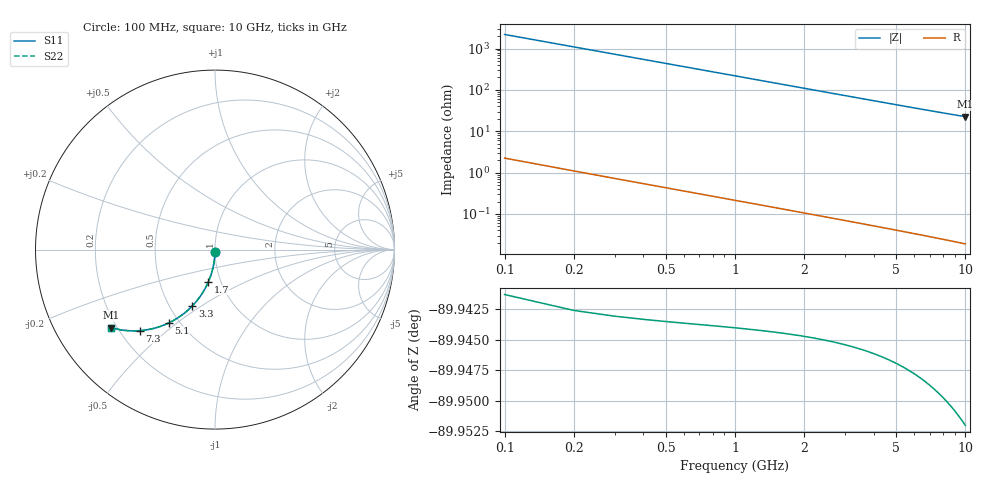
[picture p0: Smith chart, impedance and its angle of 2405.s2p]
# Hz S RI R 50.00
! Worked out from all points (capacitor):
!   100 points, 100 MHz to 10 GHz, reference 50 ohm
!   read as one part in shunt: C = 726 fF near 100 MHz
!   lowest |Z| = 22.6 ohm at 10 GHz (marker M1)
!   S11 on the Smith chart (normalised r, x): 100 MHz: 1.00, -0.02; 1.7 GHz: 0.87, -0.32; 3.3 GHz: 0.65, -0.46; 5.1 GHz: 0.44, -0.47; 7.3 GHz: 0.28, -0.41; 10 GHz: 0.18, -0.32
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1e8  -2.9e-05 -0.0109  0.9997 -0.012  0.9997 -0.012  -2.9e-05 -0.0109
2e8  -0.000429 -0.0217  0.9993 -0.0239  0.9993 -0.0239  -0.000429 -0.0217
3e8  -0.00109 -0.0325  0.9987 -0.0358  0.9987 -0.0358  -0.00109 -0.0325
4e8  -0.002 -0.0433  0.9978 -0.0478  0.9978 -0.0478  -0.002 -0.0433
5e8  -0.00318 -0.0541  0.9966 -0.0596  0.9966 -0.0596  -0.00318 -0.0541
6e8  -0.00461 -0.0648  0.9951 -0.0715  0.9951 -0.0715  -0.00461 -0.0648
8e8  -0.00822 -0.0861  0.9915 -0.095  0.9915 -0.095  -0.00822 -0.0861
9e8  -0.0104 -0.0967  0.9893 -0.1067  0.9893 -0.1067  -0.0104 -0.0967
1.1e9  -0.0155 -0.1176  0.9842 -0.1298  0.9842 -0.1298  -0.0155 -0.1176
1.4e9  -0.0249 -0.1482  0.9747 -0.1637  0.9747 -0.1637  -0.0249 -0.1482
1.7e9  -0.0364 -0.1778  0.9632 -0.1967  0.9632 -0.1967  -0.0364 -0.1778
1.8e9  -0.0406 -0.1875  0.9589 -0.2075  0.9589 -0.2075  -0.0406 -0.1875
2.1e9  -0.0546 -0.2155  0.9449 -0.2389  0.9449 -0.2389  -0.0546 -0.2155
2.5e9  -0.0758 -0.2507  0.9236 -0.2786  0.9236 -0.2786  -0.0758 -0.2507
3.3e9  -0.1255 -0.3129  0.8736 -0.3497  0.8736 -0.3497  -0.1255 -0.3129
3.4e9  -0.1323 -0.3198  0.8668 -0.3578  0.8668 -0.3578  -0.1323 -0.3198
4.2e9  -0.1895 -0.3684  0.8092 -0.4155  0.8092 -0.4155  -0.1895 -0.3684
5.1e9  -0.2575 -0.4085  0.7406 -0.466  0.7406 -0.466  -0.2575 -0.4085
6.7e9  -0.3771 -0.4465  0.6197 -0.5226  0.6197 -0.5226  -0.3771 -0.4465
7.3e9  -0.4193 -0.4516  0.577 -0.5349  0.577 -0.5349  -0.4193 -0.4516
8.4e9  -0.4908 -0.4512  0.5042 -0.5477  0.5042 -0.5477  -0.4908 -0.4512
1e10  -0.5804 -0.4343  0.4126 -0.5505  0.4126 -0.5505  -0.5804 -0.4343
